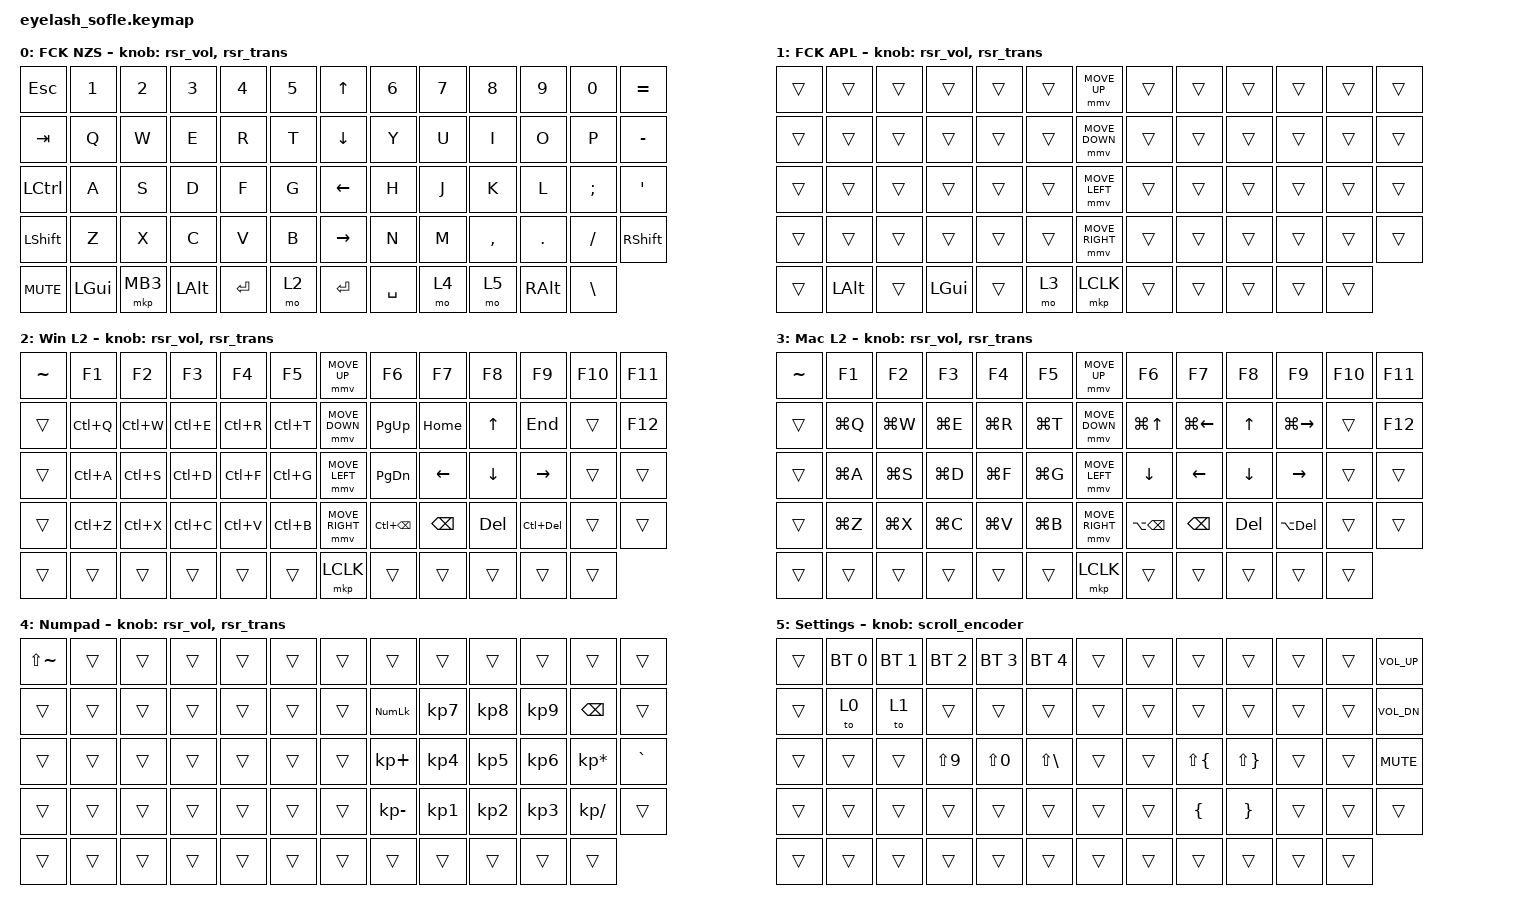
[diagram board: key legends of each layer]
#define ZMK_POINTING_DEFAULT_MOVE_VAL 1200  // 600
#define ZMK_POINTING_DEFAULT_SCRL_VAL 25   // 10

#include <input/processors.dtsi>
#include <zephyr/dt-bindings/input/input-event-codes.h>
#include <behaviors.dtsi>
#include <behaviors/runtime-sensor-rotate.dtsi>
#include <dt-bindings/zmk/bt.h>
#include <dt-bindings/zmk/keys.h>
#include <dt-bindings/zmk/outputs.h>
#include <dt-bindings/zmk/pointing.h>
#include <dt-bindings/zmk/rgb.h>

&mmv_input_listener { input-processors = <&zip_xy_scaler 2 1>; };

&msc_input_listener { input-processors = <&zip_scroll_scaler 2 1>; };

&msc {
    acceleration-exponent = <1>;      // 0
    time-to-max-speed-ms = <100>;       // 300
    delay-ms = <0>;                   // 0
};

&mmv {
    time-to-max-speed-ms = <500>;
    acceleration-exponent = <1>;
    trigger-period-ms = <16>;
};

&soft_off { hold-time-ms = <2000>; };

/ {
    scroll_encoder: scroll_encoder {
        compatible = "zmk,behavior-sensor-rotate";
        #sensor-binding-cells = <0>;
        bindings = <&msc SCRL_DOWN>, <&msc SCRL_UP>;

        tap-ms = <100>;
    };

    behaviors {
        rsr_vol: rsr_vol {
            compatible = "zmk,behavior-runtime-sensor-rotate";
            #sensor-binding-cells = <0>;
            tap-ms = <5>;
            cw-binding = <&kp C_VOL_UP>;
            ccw-binding = <&kp C_VOL_DN>;
        };

        rsr_trans: rsr_trans {
            compatible = "zmk,behavior-runtime-sensor-rotate";
            #sensor-binding-cells = <0>;
            tap-ms = <0>;
        };
    };

    combos {
        compatible = "zmk,combos";

        softoff {
            bindings = <&soft_off>;
            key-positions = <14 28 40>;
        };
    };

    keymap {
        compatible = "zmk,keymap";

        layer0 {
            bindings = <
&kp ESC     &kp N1    &kp N2    &kp N3        &kp N4     &kp N5  &kp UP_ARROW     &kp N6     &kp N7  &kp N8     &kp N9   &kp N0    &kp EQUAL
&kp TAB     &kp Q     &kp W     &kp E         &kp R      &kp T   &kp DOWN_ARROW   &kp Y      &kp U   &kp I      &kp O    &kp P     &kp MINUS
&kp LCTRL   &kp A     &kp S     &kp D         &kp F      &kp G   &kp LEFT_ARROW   &kp H      &kp J   &kp K      &kp L    &kp SEMI  &kp SQT
&kp LSHFT   &kp Z     &kp X     &kp C         &kp V      &kp B   &kp RIGHT_ARROW  &kp N      &kp M   &kp COMMA  &kp DOT  &kp FSLH  &kp RSHFT
&kp C_MUTE  &kp LGUI  &mkp MB3  &kp LEFT_ALT  &kp ENTER  &mo 2   &kp ENTER        &kp SPACE  &mo 4   &mo 5      &kp RALT &kp BSLH
            >;

            sensor-bindings = <&rsr_vol &rsr_trans>;
            display-name = "FCK NZS";
        };

        layer_1 {
            bindings = <
&trans  &trans    &trans  &trans    &trans  &trans  &mmv MOVE_UP     &trans  &trans  &trans  &trans  &trans  &trans
&trans  &trans    &trans  &trans    &trans  &trans  &mmv MOVE_DOWN   &trans  &trans  &trans  &trans  &trans  &trans
&trans  &trans    &trans  &trans    &trans  &trans  &mmv MOVE_LEFT   &trans  &trans  &trans  &trans  &trans  &trans
&trans  &trans    &trans  &trans    &trans  &trans  &mmv MOVE_RIGHT  &trans  &trans  &trans  &trans  &trans  &trans
&trans  &kp LALT  &trans  &kp LGUI  &trans  &mo 3   &mkp LCLK        &trans  &trans  &trans  &trans  &trans
            >;

            sensor-bindings = <&rsr_vol &rsr_trans>;
            display-name = "FCK APL";
        };

        layer_2 {
            bindings = <
&kp TILDE  &kp F1     &kp F2     &kp F3     &kp F4     &kp F5     &mmv MOVE_UP     &kp F6        &kp F7    &kp F8    &kp F9       &kp F10   &kp F11
&trans     &kp LC(Q)  &kp LC(W)  &kp LC(E)  &kp LC(R)  &kp LC(T)  &mmv MOVE_DOWN   &kp PG_UP     &kp HOME  &kp UP    &kp END      &trans    &kp F12
&trans     &kp LC(A)  &kp LC(S)  &kp LC(D)  &kp LC(F)  &kp LC(G)  &mmv MOVE_LEFT   &kp PG_DN     &kp LEFT  &kp DOWN  &kp RIGHT    &trans    &trans
&trans     &kp LC(Z)  &kp LC(X)  &kp LC(C)  &kp LC(V)  &kp LC(B)  &mmv MOVE_RIGHT  &kp LC(BSPC)  &kp BSPC  &kp DEL   &kp LC(DEL)  &trans    &trans
&trans     &trans     &trans     &trans     &trans     &trans     &mkp LCLK        &trans        &trans    &trans    &trans       &trans
            >;

            display-name = "Win L2";
            sensor-bindings = <&rsr_vol &rsr_trans>;
        };

        layer_3 {
            bindings = <
&kp TILDE  &kp F1     &kp F2     &kp F3     &kp F4     &kp F5     &mmv MOVE_UP     &kp F6        &kp F7        &kp F8    &kp F9         &kp F10   &kp F11
&trans     &kp LG(Q)  &kp LG(W)  &kp LG(E)  &kp LG(R)  &kp LG(T)  &mmv MOVE_DOWN   &kp LG(UP)    &kp LG(LEFT)  &kp UP    &kp LG(RIGHT)  &trans    &kp F12
&trans     &kp LG(A)  &kp LG(S)  &kp LG(D)  &kp LG(F)  &kp LG(G)  &mmv MOVE_LEFT   &kp DOWN      &kp LEFT      &kp DOWN  &kp RIGHT      &trans    &trans
&trans     &kp LG(Z)  &kp LG(X)  &kp LG(C)  &kp LG(V)  &kp LG(B)  &mmv MOVE_RIGHT  &kp LA(BSPC)  &kp BSPC      &kp DEL   &kp LA(DEL)    &trans    &trans
&trans     &trans     &trans     &trans     &trans     &trans     &mkp LCLK        &trans        &trans        &trans    &trans         &trans
            >;

            display-name = "Mac L2";
            sensor-bindings = <&rsr_vol &rsr_trans>;
        };

        layer_4 {
            bindings = <
&kp LS(TILDE)  &trans  &trans  &trans  &trans  &trans  &trans  &trans        &trans     &trans     &trans     &trans           &trans
&trans         &trans  &trans  &trans  &trans  &trans  &trans  &kp KP_NUM    &kp KP_N7  &kp KP_N8  &kp KP_N9  &kp BSPC         &trans
&trans         &trans  &trans  &trans  &trans  &trans  &trans  &kp KP_PLUS   &kp KP_N4  &kp KP_N5  &kp KP_N6  &kp KP_MULTIPLY  &kp GRAVE
&trans         &trans  &trans  &trans  &trans  &trans  &trans  &kp KP_MINUS  &kp KP_N1  &kp KP_N2  &kp KP_N3  &kp KP_SLASH     &trans
&trans         &trans  &trans  &trans  &trans  &trans  &trans  &trans        &trans     &trans     &trans     &trans
            >;

            display-name = "Numpad";
            sensor-bindings = <&rsr_vol &rsr_trans>;
        };

        layer_5 {
            bindings = <
&trans  &bt BT_SEL 0  &bt BT_SEL 1  &bt BT_SEL 2  &bt BT_SEL 3  &bt BT_SEL 4  &trans  &trans  &trans        &trans        &trans  &trans  &kp C_VOL_UP
&trans  &to 0         &to 1         &trans        &trans        &trans        &trans  &trans  &trans        &trans        &trans  &trans  &kp C_VOL_DN
&trans  &trans        &trans        &kp LS(N9)    &kp LS(N0)    &kp LS(BSLH)  &trans  &trans  &kp LS(LBRC)  &kp LS(RBRC)  &trans  &trans  &kp C_MUTE
&trans  &trans        &trans        &trans        &trans        &trans        &trans  &trans  &kp LBRC      &kp RBRC      &trans  &trans  &trans
&trans  &trans        &trans        &trans        &trans        &trans        &trans  &trans  &trans        &trans        &trans  &trans
            >;

            display-name = "Settings";
            sensor-bindings = <&scroll_encoder>;
        };
    };
};
